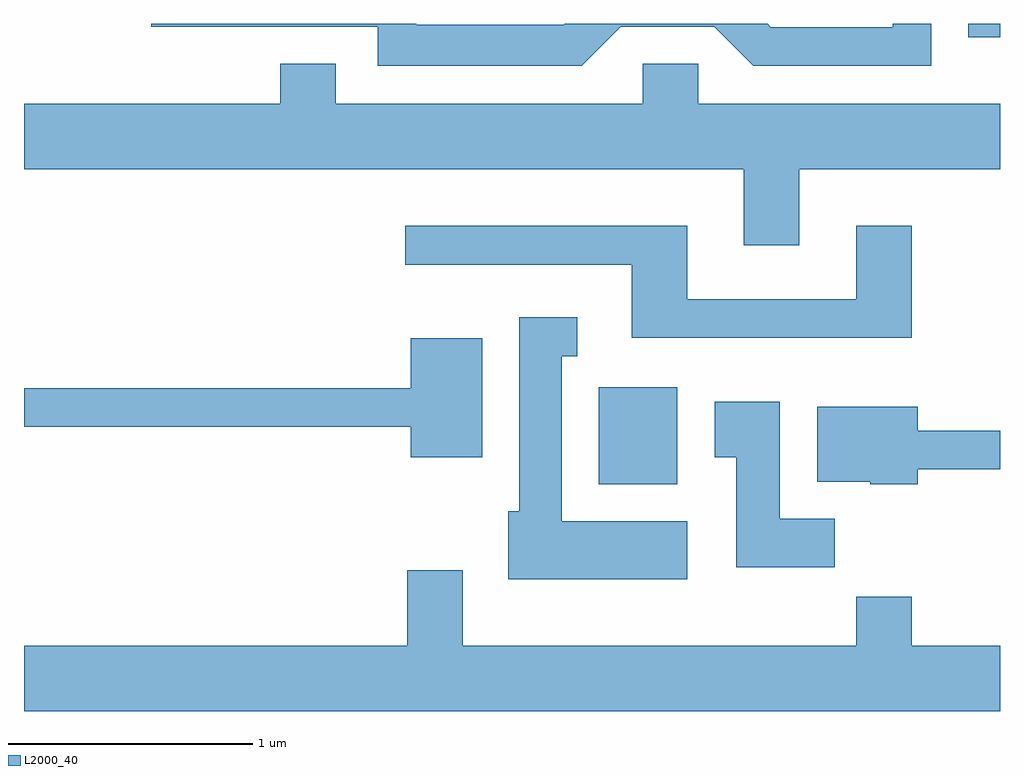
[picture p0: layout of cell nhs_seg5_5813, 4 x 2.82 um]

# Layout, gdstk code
import gdstk
lib = gdstk.Library(unit=1e-6, precision=1e-09)
def R(c, l, rs):  # rectangles x0, y0, x1, y1
    for r in rs: c.add(gdstk.rectangle(r[:2], r[2:], *l))
def P(c, l, *ps):  # polygons
    for p in ps: c.add(gdstk.Polygon(p, *l))
L2000_40 = (2000, 40)

nhs_seg5_5813 = lib.new_cell('nhs_seg5_5813')
R(nhs_seg5_5813, L2000_40, [(359.966,1442.186,360.289,1442.584), (361.481,1444.018,361.611,1444.072)])
P(nhs_seg5_5813, L2000_40, [(360.057,1444.061),(360.439,1444.061),(360.599,1443.901),(361.329,1443.901),(361.329,1444.072),(361.171,1444.072),(361.171,1444.059),(360.672,1444.059),(360.659,1444.072),(359.827,1444.072),(359.824,1444.069),(359.219,1444.069),(359.219,1444.072),(358.133,1444.072),(358.133,1444.061),(359.061,1444.061),(359.061,1443.901),(359.897,1443.901)],
  [(360.789,1443.476),(361.611,1443.476),(361.611,1443.744),(360.374,1443.744),(360.374,1443.909),(360.146,1443.909),(360.146,1443.744),(358.889,1443.744),(358.889,1443.909),(358.661,1443.909),(358.661,1443.744),(357.611,1443.744),(357.611,1443.476),(360.561,1443.476),(360.561,1443.166),(360.789,1443.166)],
  [(361.249,1443.244),(361.021,1443.244),(361.021,1442.944),(360.329,1442.944),(360.329,1443.244),(359.173,1443.244),(359.173,1443.086),(360.101,1443.086),(360.101,1442.786),(361.249,1442.786)],
  [(360.329,1442.034),(359.814,1442.034),(359.814,1442.711),(359.878,1442.711),(359.878,1442.869),(359.641,1442.869),(359.641,1442.074),(359.596,1442.074),(359.596,1441.796),(360.329,1441.796)],
  [(359.489,1442.784),(359.196,1442.784),(359.196,1442.579),(357.611,1442.579),(357.611,1442.421),(359.196,1442.421),(359.196,1442.296),(359.489,1442.296)],
  [(360.934,1442.044),(360.709,1442.044),(360.709,1442.524),(360.441,1442.524),(360.441,1442.296),(360.531,1442.296),(360.531,1441.846),(360.934,1441.846)],
  [(361.274,1442.246),(361.611,1442.246),(361.611,1442.404),(361.274,1442.404),(361.274,1442.504),(360.861,1442.504),(360.861,1442.196),(361.08,1442.196),(361.08,1442.186),(361.274,1442.186)],
  [(361.611,1441.524),(361.249,1441.524),(361.249,1441.724),(361.021,1441.724),(361.021,1441.524),(359.409,1441.524),(359.409,1441.834),(359.181,1441.834),(359.181,1441.524),(357.611,1441.524),(357.611,1441.256),(361.611,1441.256)])

lib.write_gds('nhs_seg5_5813.gds')
